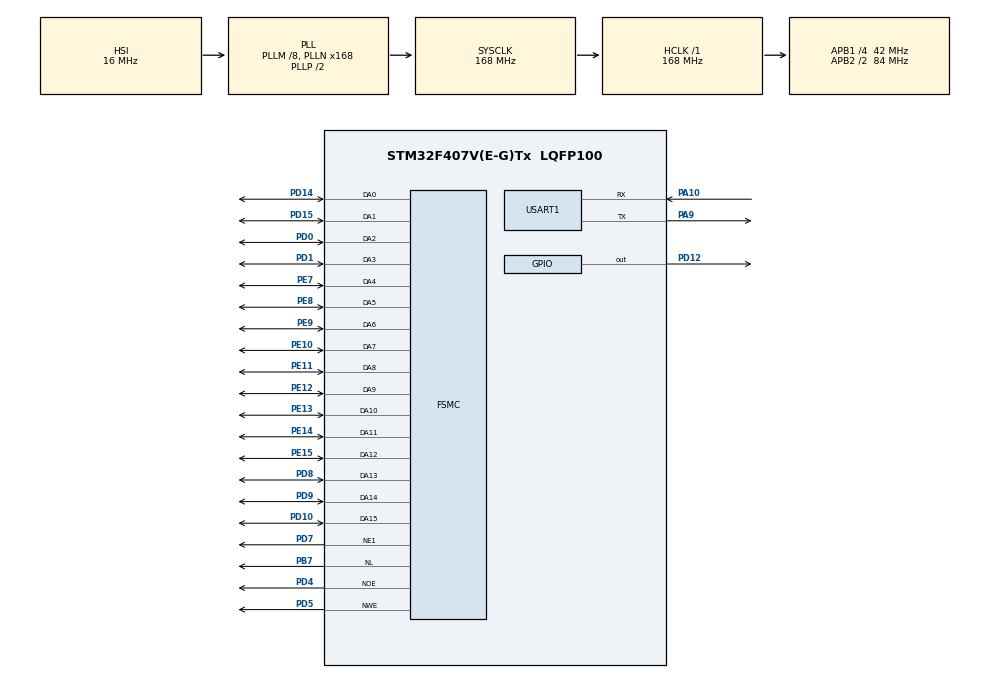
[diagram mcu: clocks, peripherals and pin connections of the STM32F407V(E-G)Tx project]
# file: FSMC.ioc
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Dma.Request0=USART1_TX
Dma.USART1_TX.0.Direction=DMA_MEMORY_TO_PERIPH
Dma.USART1_TX.0.FIFOMode=DMA_FIFOMODE_DISABLE
Dma.USART1_TX.0.Instance=DMA2_Stream7
Dma.USART1_TX.0.MemDataAlignment=DMA_MDATAALIGN_BYTE
Dma.USART1_TX.0.MemInc=DMA_MINC_ENABLE
Dma.USART1_TX.0.Mode=DMA_NORMAL
Dma.USART1_TX.0.PeriphDataAlignment=DMA_PDATAALIGN_BYTE
Dma.USART1_TX.0.PeriphInc=DMA_PINC_DISABLE
Dma.USART1_TX.0.Priority=DMA_PRIORITY_MEDIUM
FSMC.AddressHoldTime1=1
FSMC.AddressSetupTime1=4
FSMC.BusTurnAroundDuration1=1
FSMC.DataSetupTime1=100
FSMC.WriteOperation1=FSMC_WRITE_OPERATION_ENABLE
Mcu.Family=STM32F4
Mcu.Name=STM32F407V(E-G)Tx
Mcu.Package=LQFP100
NVIC.DMA2_Stream7_IRQn=true\:0\:0\:false\:false\:true\:false\:true\:true
NVIC.PriorityGroup=NVIC_PRIORITYGROUP_4
NVIC.TIM2_IRQn=true\:0\:0\:false\:false\:true\:true\:true\:true
NVIC.USART1_IRQn=true\:0\:0\:false\:false\:true\:true\:true\:true
PA10.Mode=Asynchronous
PA10.Signal=USART1_RX
PA13.Mode=Serial_Wire
PA13.Signal=SYS_JTMS-SWDIO
PA14.Mode=Serial_Wire
PA14.Signal=SYS_JTCK-SWCLK
PA9.Mode=Asynchronous
PA9.Signal=USART1_TX
PB7.Signal=FSMC_NL
PD0.Mode=16b-da1
PD0.Signal=FSMC_DA2
PD1.Mode=16b-da1
PD1.Signal=FSMC_DA3
PD10.Mode=16b-da1
PD10.Signal=FSMC_DA15
PD12.Signal=GPIO_Output
PD14.Mode=16b-da1
PD14.Signal=FSMC_DA0
PD15.Mode=16b-da1
PD15.Signal=FSMC_DA1
PD4.Mode=MuxedPsram1
PD4.Signal=FSMC_NOE
PD5.Mode=MuxedPsram1
PD5.Signal=FSMC_NWE
PD7.Mode=NorPsramChipSelect1_1
PD7.Signal=FSMC_NE1
PD8.Mode=16b-da1
PD8.Signal=FSMC_DA13
PD9.Mode=16b-da1
PD9.Signal=FSMC_DA14
PE10.Mode=16b-da1
PE10.Signal=FSMC_DA7
PE11.Mode=16b-da1
PE11.Signal=FSMC_DA8
PE12.Mode=16b-da1
PE12.Signal=FSMC_DA9
PE13.Mode=16b-da1
PE13.Signal=FSMC_DA10
PE14.Mode=16b-da1
PE14.Signal=FSMC_DA11
PE15.Mode=16b-da1
PE15.Signal=FSMC_DA12
PE7.Mode=16b-da1
PE7.Signal=FSMC_DA4
PE8.Mode=16b-da1
PE8.Signal=FSMC_DA5
PE9.Mode=16b-da1
PE9.Signal=FSMC_DA6
PH0-OSC_IN.Mode=HSE-External-Oscillator
PH0-OSC_IN.Signal=RCC_OSC_IN
PH1-OSC_OUT.Mode=HSE-External-Oscillator
PH1-OSC_OUT.Signal=RCC_OSC_OUT
ProjectManager.HeapSize=0x200
ProjectManager.StackSize=0x400
ProjectManager.TargetToolchain=STM32CubeIDE
RCC.48MHZClocksFreq_Value=84000000
RCC.AHBFreq_Value=168000000
RCC.APB1CLKDivider=RCC_HCLK_DIV4
RCC.APB1Freq_Value=42000000
RCC.APB1TimFreq_Value=84000000
RCC.APB2CLKDivider=RCC_HCLK_DIV2
RCC.APB2Freq_Value=84000000
RCC.APB2TimFreq_Value=168000000
RCC.CortexFreq_Value=168000000
RCC.HCLKFreq_Value=168000000
RCC.HSE_VALUE=25000000
RCC.HSI_VALUE=16000000
RCC.LSE_VALUE=32768
RCC.PLLM=8
RCC.PLLN=168
RCC.SYSCLKFreq_VALUE=168000000
RCC.SYSCLKSource=RCC_SYSCLKSOURCE_PLLCLK
RCC.VCOOutputFreq_Value=336000000
SH.FSMC_NL.0=FSMC_NL,AddressValid1
TIM2.AutoReloadPreload=TIM_AUTORELOAD_PRELOAD_ENABLE
TIM2.Period=99
TIM2.Prescaler=16799
USART1.VirtualMode=VM_ASYNC
VP_TIM2_VS_ClockSourceINT.Mode=Internal
board=custom

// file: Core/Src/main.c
/* USER CODE BEGIN Header */
/**
  ******************************************************************************
  * @file           : main.c
  * @brief          : Main program body
  ******************************************************************************
  * @attention
  *
  * Copyright (c) 2026 STMicroelectronics.
  * All rights reserved.
  *
  * This software is licensed under terms that can be found in the LICENSE file
  * in the root directory of this software component.
  * If no LICENSE file comes with this software, it is provided AS-IS.
  *
  ******************************************************************************
  */
/* USER CODE END Header */
#include "main.h"

/* USER CODE BEGIN Includes */
#include <stdio.h>
#include <string.h>
#include <stdlib.h>
/* USER CODE END Includes */

/* USER CODE BEGIN PD */
#define CPLD_BASE_ADDR   0x60000000
#define REG_MOTOR_CMD    0x0000
#define REG_ENCODER_READ (0x0001 << 1)

// Hằng số quy đổi góc quay
#define PULSE_PER_REV    937.2f
#define DEGREE_PER_REV   360.0f
/* USER CODE END PD */

TIM_HandleTypeDef htim2;

UART_HandleTypeDef huart1;
DMA_HandleTypeDef hdma_usart1_tx;

SRAM_HandleTypeDef hsram1;

/* USER CODE BEGIN PV */
float Kp = 7.0, Ki = 0.02, Kd = 45;
float Target_Position_Float = 0.0f;
int32_t Target_Position = 0;
int32_t Current_Position = 0;
int32_t Encoder_Offset = 0;
float Error = 0, Pre_Error = 0, Integral = 0, Derivative = 0;
float PWM_Output = 0;

char uart_tx_buffer[100];

uint8_t rx_byte;
char rx_buffer[20];
uint8_t rx_index = 0;
uint8_t rx_flag = 0;
/* USER CODE END PV */

void SystemClock_Config(void);
static void MX_GPIO_Init(void);
static void MX_DMA_Init(void);
static void MX_FSMC_Init(void);
static void MX_TIM2_Init(void);
static void MX_USART1_UART_Init(void);

/* USER CODE BEGIN 0 */
// --- 1. GIAO TIẾP PHẦN CỨNG ---
void Write_Motor(uint8_t dir, uint16_t pwm) {
    if (pwm > 1000) pwm = 1000;
    uint16_t payload = ((uint16_t)(dir & 0x01) << 15) | (pwm & 0x7FFF);
    *(__IO uint16_t *)(CPLD_BASE_ADDR + REG_MOTOR_CMD) = payload;
}

int16_t Read_Encoder(void) {
    return (int16_t)(*(__IO uint16_t *)(CPLD_BASE_ADDR + REG_ENCODER_READ));
}

void Move_To_Angle_Absolute(float target_angle_degree) {
    HAL_TIM_Base_Stop_IT(&htim2);
        Target_Position_Float = target_angle_degree * (PULSE_PER_REV / DEGREE_PER_REV);
        if (Target_Position_Float > 0) {
            Target_Position = (int32_t)(Target_Position_Float + 0.5f);
        } else {
            Target_Position = (int32_t)(Target_Position_Float - 0.5f);
        }

    Error = Target_Position - Current_Position;
    Pre_Error = Error;
    Integral = 0;
    Derivative = 0;
    PWM_Output = 0;

    HAL_TIM_Base_Start_IT(&htim2);
}

void Move_Angle_Relative(float angle_degree_to_move) {
    HAL_TIM_Base_Stop_IT(&htim2);
        float step_to_move_float = angle_degree_to_move * (PULSE_PER_REV / DEGREE_PER_REV);
        Target_Position_Float = Target_Position_Float + step_to_move_float;
        if (Target_Position_Float > 0) {
            Target_Position = (int32_t)(Target_Position_Float + 0.5f);
        } else {
            Target_Position = (int32_t)(Target_Position_Float - 0.5f);
        }

    Error = Target_Position - Current_Position;
    Pre_Error = Error;
    Integral = 0;
    Derivative = 0;
    PWM_Output = 0;

    HAL_TIM_Base_Start_IT(&htim2);
}

void HAL_TIM_PeriodElapsedCallback(TIM_HandleTypeDef *htim) {
    if (htim->Instance == TIM2) {
        Current_Position = Read_Encoder() - Encoder_Offset;
        Error = Target_Position - Current_Position;
        Integral += Error;
        // Chống bão hòa
        if (Integral > 5000) Integral = 5000;
        if (Integral < -5000) Integral = -5000;
        Derivative = Error - Pre_Error;
        PWM_Output = (Kp * Error) + (Ki * Integral) + (Kd * Derivative);

        if (PWM_Output > 1000.0f) PWM_Output = 1000.0f;
        if (PWM_Output < -1000.0f) PWM_Output = -1000.0f;
        Pre_Error = Error;
        //Đẩy điện áp ra motor
        if (PWM_Output >= 0) {
            Write_Motor(0, (uint16_t)PWM_Output);
        } else {
            Write_Motor(1, (uint16_t)(-PWM_Output));
        }

        float target_deg = (Target_Position * 360.0f / 937.2f);
        float current_deg = (Current_Position * 360.0f / 937.2f);

        int32_t t_int = (int32_t)target_deg;
        int32_t c_int = (int32_t)current_deg;

        int32_t t_frac = (int32_t)(abs((int32_t)(target_deg * 100)) % 100);
        int32_t c_frac = (int32_t)(abs((int32_t)(current_deg * 100)) % 100);

        sprintf(uart_tx_buffer, "%ld.%02ld,%ld.%02ld\n", t_int, t_frac, c_int, c_frac);
        HAL_UART_Transmit_DMA(&huart1, (uint8_t*)uart_tx_buffer, strlen(uart_tx_buffer));
    }
}
// HÀM NGẮT NHẬN DỮ LIỆU UART
void HAL_UART_RxCpltCallback(UART_HandleTypeDef *huart) {
    if (huart->Instance == USART1) {

        if (rx_byte == '\n') {
            rx_buffer[rx_index] = '\0';
            rx_flag = 1;
            rx_index = 0;
        }
        else {
            if (rx_index < 19) {
                rx_buffer[rx_index] = rx_byte;
                rx_index++;
            }
        }
        HAL_UART_Receive_IT(&huart1, &rx_byte, 1);
    }
}
/* USER CODE END 0 */

int main(void)
{

  /* MCU Configuration--------------------------------------------------------*/

  /* Reset of all peripherals, Initializes the Flash interface and the Systick. */
  HAL_Init();

  /* Configure the system clock */
  SystemClock_Config();

  /* Initialize all configured peripherals */
  MX_GPIO_Init();
  MX_DMA_Init();
  MX_FSMC_Init();
  MX_TIM2_Init();
  MX_USART1_UART_Init();
  /* USER CODE BEGIN 2 */
  Encoder_Offset = Read_Encoder();
  Target_Position_Float = 0.0f;
  Target_Position = 0;
  HAL_TIM_Base_Start_IT(&htim2);
  HAL_UART_Receive_IT(&huart1, &rx_byte, 1);
  /* USER CODE END 2 */

  /* Infinite loop */
  /* USER CODE BEGIN WHILE */
  while (1)
  {
	 if (rx_flag == 1) {
	 float target_angle_from_pc = atof(rx_buffer);
	 Move_To_Angle_Absolute(target_angle_from_pc);
	 rx_flag = 0;
	        }
    /* USER CODE END WHILE */

  }
}

void SystemClock_Config(void)
{
  RCC_OscInitTypeDef RCC_OscInitStruct = {0};
  RCC_ClkInitTypeDef RCC_ClkInitStruct = {0};

  /** Configure the main internal regulator output voltage
  */
  __HAL_RCC_PWR_CLK_ENABLE();
  __HAL_PWR_VOLTAGESCALING_CONFIG(PWR_REGULATOR_VOLTAGE_SCALE1);

  /** Initializes the RCC Oscillators according to the specified parameters
  * in the RCC_OscInitTypeDef structure.
  */
  RCC_OscInitStruct.OscillatorType = RCC_OSCILLATORTYPE_HSI;
  RCC_OscInitStruct.HSIState = RCC_HSI_ON;
  RCC_OscInitStruct.HSICalibrationValue = RCC_HSICALIBRATION_DEFAULT;
  RCC_OscInitStruct.PLL.PLLState = RCC_PLL_ON;
  RCC_OscInitStruct.PLL.PLLSource = RCC_PLLSOURCE_HSI;
  RCC_OscInitStruct.PLL.PLLM = 8;
  RCC_OscInitStruct.PLL.PLLN = 168;
  RCC_OscInitStruct.PLL.PLLP = RCC_PLLP_DIV2;
  RCC_OscInitStruct.PLL.PLLQ = 4;
  if (HAL_RCC_OscConfig(&RCC_OscInitStruct) != HAL_OK)
  {
    Error_Handler();
  }

  /** Initializes the CPU, AHB and APB buses clocks
  */
  RCC_ClkInitStruct.ClockType = RCC_CLOCKTYPE_HCLK|RCC_CLOCKTYPE_SYSCLK
                              |RCC_CLOCKTYPE_PCLK1|RCC_CLOCKTYPE_PCLK2;
  RCC_ClkInitStruct.SYSCLKSource = RCC_SYSCLKSOURCE_PLLCLK;
  RCC_ClkInitStruct.AHBCLKDivider = RCC_SYSCLK_DIV1;
  RCC_ClkInitStruct.APB1CLKDivider = RCC_HCLK_DIV4;
  RCC_ClkInitStruct.APB2CLKDivider = RCC_HCLK_DIV2;

  if (HAL_RCC_ClockConfig(&RCC_ClkInitStruct, FLASH_LATENCY_5) != HAL_OK)
  {
    Error_Handler();
  }
}

static void MX_TIM2_Init(void)
{

  TIM_ClockConfigTypeDef sClockSourceConfig = {0};
  TIM_MasterConfigTypeDef sMasterConfig = {0};

  htim2.Instance = TIM2;
  htim2.Init.Prescaler = 16799;
  htim2.Init.CounterMode = TIM_COUNTERMODE_UP;
  htim2.Init.Period = 99;
  htim2.Init.ClockDivision = TIM_CLOCKDIVISION_DIV1;
  htim2.Init.AutoReloadPreload = TIM_AUTORELOAD_PRELOAD_ENABLE;
  if (HAL_TIM_Base_Init(&htim2) != HAL_OK)
  {
    Error_Handler();
  }
  sClockSourceConfig.ClockSource = TIM_CLOCKSOURCE_INTERNAL;
  if (HAL_TIM_ConfigClockSource(&htim2, &sClockSourceConfig) != HAL_OK)
  {
    Error_Handler();
  }
  sMasterConfig.MasterOutputTrigger = TIM_TRGO_RESET;
  sMasterConfig.MasterSlaveMode = TIM_MASTERSLAVEMODE_DISABLE;
  if (HAL_TIMEx_MasterConfigSynchronization(&htim2, &sMasterConfig) != HAL_OK)
  {
    Error_Handler();
  }

}

static void MX_USART1_UART_Init(void)
{

  huart1.Instance = USART1;
  huart1.Init.BaudRate = 115200;
  huart1.Init.WordLength = UART_WORDLENGTH_8B;
  huart1.Init.StopBits = UART_STOPBITS_1;
  huart1.Init.Parity = UART_PARITY_NONE;
  huart1.Init.Mode = UART_MODE_TX_RX;
  huart1.Init.HwFlowCtl = UART_HWCONTROL_NONE;
  huart1.Init.OverSampling = UART_OVERSAMPLING_16;
  if (HAL_UART_Init(&huart1) != HAL_OK)
  {
    Error_Handler();
  }

}

static void MX_DMA_Init(void)
{

  /* DMA controller clock enable */
  __HAL_RCC_DMA2_CLK_ENABLE();

  /* DMA interrupt init */
  /* DMA2_Stream7_IRQn interrupt configuration */
  HAL_NVIC_SetPriority(DMA2_Stream7_IRQn, 0, 0);
  HAL_NVIC_EnableIRQ(DMA2_Stream7_IRQn);

}

static void MX_GPIO_Init(void)
{
  GPIO_InitTypeDef GPIO_InitStruct = {0};

  /* GPIO Ports Clock Enable */
  __HAL_RCC_GPIOH_CLK_ENABLE();
  __HAL_RCC_GPIOE_CLK_ENABLE();
  __HAL_RCC_GPIOD_CLK_ENABLE();
  __HAL_RCC_GPIOA_CLK_ENABLE();
  __HAL_RCC_GPIOB_CLK_ENABLE();

  /*Configure GPIO pin Output Level */
  HAL_GPIO_WritePin(GPIOD, GPIO_PIN_12, GPIO_PIN_RESET);

  /*Configure GPIO pin : PD12 */
  GPIO_InitStruct.Pin = GPIO_PIN_12;
  GPIO_InitStruct.Mode = GPIO_MODE_OUTPUT_PP;
  GPIO_InitStruct.Pull = GPIO_NOPULL;
  GPIO_InitStruct.Speed = GPIO_SPEED_FREQ_LOW;
  HAL_GPIO_Init(GPIOD, &GPIO_InitStruct);

}

/* FSMC initialization function */
static void MX_FSMC_Init(void)
{

  FSMC_NORSRAM_TimingTypeDef Timing = {0};

  /** Perform the SRAM1 memory initialization sequence
  */
  hsram1.Instance = FSMC_NORSRAM_DEVICE;
  hsram1.Extended = FSMC_NORSRAM_EXTENDED_DEVICE;
  /* hsram1.Init */
  hsram1.Init.NSBank = FSMC_NORSRAM_BANK1;
  hsram1.Init.DataAddressMux = FSMC_DATA_ADDRESS_MUX_ENABLE;
  hsram1.Init.MemoryType = FSMC_MEMORY_TYPE_PSRAM;
  hsram1.Init.MemoryDataWidth = FSMC_NORSRAM_MEM_BUS_WIDTH_16;
  hsram1.Init.BurstAccessMode = FSMC_BURST_ACCESS_MODE_DISABLE;
  hsram1.Init.WaitSignalPolarity = FSMC_WAIT_SIGNAL_POLARITY_LOW;
  hsram1.Init.WrapMode = FSMC_WRAP_MODE_DISABLE;
  hsram1.Init.WaitSignalActive = FSMC_WAIT_TIMING_BEFORE_WS;
  hsram1.Init.WriteOperation = FSMC_WRITE_OPERATION_ENABLE;
  hsram1.Init.WaitSignal = FSMC_WAIT_SIGNAL_DISABLE;
  hsram1.Init.ExtendedMode = FSMC_EXTENDED_MODE_DISABLE;
  hsram1.Init.AsynchronousWait = FSMC_ASYNCHRONOUS_WAIT_DISABLE;
  hsram1.Init.WriteBurst = FSMC_WRITE_BURST_DISABLE;
  hsram1.Init.PageSize = FSMC_PAGE_SIZE_NONE;
  /* Timing */
  Timing.AddressSetupTime = 4;
  Timing.AddressHoldTime = 1;
  Timing.DataSetupTime = 100;
  Timing.BusTurnAroundDuration = 1;
  Timing.CLKDivision = 16;
  Timing.DataLatency = 17;
  Timing.AccessMode = FSMC_ACCESS_MODE_A;
  /* ExtTiming */

  if (HAL_SRAM_Init(&hsram1, &Timing, NULL) != HAL_OK)
  {
    Error_Handler( );
  }

}

void Error_Handler(void)
{
  __disable_irq();
  while (1)
  {
  }
}
